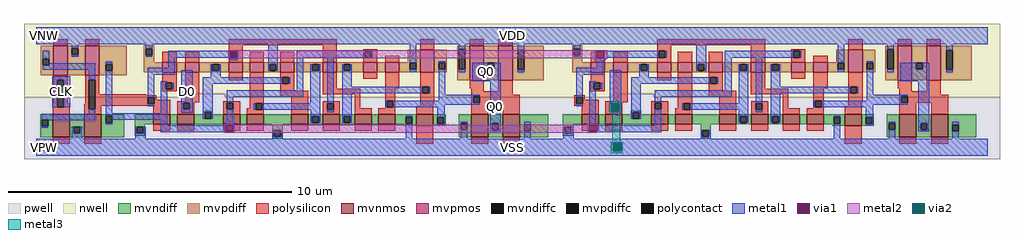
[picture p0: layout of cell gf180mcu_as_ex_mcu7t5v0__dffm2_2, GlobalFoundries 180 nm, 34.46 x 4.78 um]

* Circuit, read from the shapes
.subckt gf180mcu_as_ex_mcu7t5v0__dffm2_2 VDD VNW VPW VSS CLK Q0 D0
XM1 VSS CLK n1 VPW nfet_06v0 w=0.82u l=0.6u
XM2 n2 n1 VSS VPW nfet_06v0 w=0.82u l=0.6u
XM3 n3 n1 VSS VPW nfet_06v0 w=0.36u l=0.6u
XM4 n4 D0 n3 VPW nfet_06v0 w=0.36u l=0.6u
XM5 n5 n2 n4 VPW nfet_06v0 w=0.36u l=0.6u
XM6 VSS n6 n5 VPW nfet_06v0 w=0.36u l=0.6u
XM7 n6 n4 VSS VPW nfet_06v0 w=0.36u l=0.6u
XM8 n7 n2 n6 VPW nfet_06v0 w=0.36u l=0.6u
XM9 n8 n1 n7 VPW nfet_06v0 w=0.36u l=0.6u
XM10 VSS n9 n8 VPW nfet_06v0 w=0.36u l=0.6u
XM11 n9 n7 VSS VPW nfet_06v0 w=0.4u l=0.6u
XM12 Q0 n9 VSS VPW nfet_06v0 w=0.82u l=0.6u m=2
XM13 n10 n1 VSS VPW nfet_06v0 w=0.36u l=0.6u
XM14 n11 VSS n10 VPW nfet_06v0 w=0.36u l=0.6u
XM15 n12 n2 n11 VPW nfet_06v0 w=0.36u l=0.6u
XM16 VSS n13 n12 VPW nfet_06v0 w=0.36u l=0.6u
XM17 n13 n11 VSS VPW nfet_06v0 w=0.36u l=0.6u
XM18 n14 n2 n13 VPW nfet_06v0 w=0.36u l=0.6u
XM19 n15 n1 n14 VPW nfet_06v0 w=0.36u l=0.6u
XM20 VSS n16 n15 VPW nfet_06v0 w=0.36u l=0.6u
XM21 n16 n14 VSS VPW nfet_06v0 w=0.4u l=0.6u
XM22 n17 n16 VSS VPW nfet_06v0 w=0.82u l=0.6u m=2
XM23 VDD CLK n1 VNW pfet_06v0 w=1.04u l=0.5u
XM24 n2 n1 VDD VNW pfet_06v0 w=1.04u l=0.5u
XM25 n18 n2 VDD VNW pfet_06v0 w=0.36u l=0.5u
XM26 n4 D0 n18 VNW pfet_06v0 w=0.36u l=0.5u
XM27 n19 n1 n4 VNW pfet_06v0 w=0.36u l=0.5u
XM28 VDD n6 n19 VNW pfet_06v0 w=0.36u l=0.5u
XM29 n6 n4 VDD VNW pfet_06v0 w=0.36u l=0.5u
XM30 n7 n1 n6 VNW pfet_06v0 w=0.36u l=0.5u
XM31 n20 n2 n7 VNW pfet_06v0 w=0.36u l=0.5u
XM32 VDD n9 n20 VNW pfet_06v0 w=0.36u l=0.5u
XM33 n9 n7 VDD VNW pfet_06v0 w=0.8u l=0.5u
XM34 Q0 n9 VDD VNW pfet_06v0 w=1.22u l=0.5u m=2
XM35 n21 n2 VDD VNW pfet_06v0 w=0.36u l=0.5u
XM36 n11 VSS n21 VNW pfet_06v0 w=0.36u l=0.5u
XM37 n22 n1 n11 VNW pfet_06v0 w=0.36u l=0.5u
XM38 VDD n13 n22 VNW pfet_06v0 w=0.36u l=0.5u
XM39 n13 n11 VDD VNW pfet_06v0 w=0.36u l=0.5u
XM40 n14 n1 n13 VNW pfet_06v0 w=0.36u l=0.5u
XM41 n23 n2 n14 VNW pfet_06v0 w=0.36u l=0.5u
XM42 VDD n16 n23 VNW pfet_06v0 w=0.36u l=0.5u
XM43 n16 n14 VDD VNW pfet_06v0 w=0.8u l=0.5u
XM44 n17 n16 VDD VNW pfet_06v0 w=1.22u l=0.5u m=2
.ends

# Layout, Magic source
magic
tech gf180mcuD
magscale 1 10
<< nwell >>
rect -86 377 6806 870
rect -86 352 1085 377
rect 1336 352 4109 377
rect 4360 352 6806 377
<< pwell >>
rect 1085 352 1336 377
rect 4109 352 4360 377
rect -86 -86 6806 352
<< mvnmos >>
rect 116 68 236 232
rect 341 68 461 232
rect 828 159 948 231
rect 996 159 1116 231
rect 1320 159 1440 231
rect 1488 159 1608 231
rect 1800 159 1920 231
rect 2024 159 2144 231
rect 2248 159 2368 231
rect 2416 159 2536 231
rect 2684 151 2804 231
rect 3072 68 3192 232
rect 3296 68 3416 232
rect 3852 159 3972 231
rect 4020 159 4140 231
rect 4344 159 4464 231
rect 4512 159 4632 231
rect 4824 159 4944 231
rect 5048 159 5168 231
rect 5272 159 5392 231
rect 5440 159 5560 231
rect 5708 151 5828 231
rect 6096 68 6216 232
rect 6320 68 6440 232
<< mvpmos >>
rect 122 508 222 716
rect 346 508 446 716
rect 892 527 992 599
rect 1052 527 1152 599
rect 1360 527 1460 599
rect 1508 527 1608 599
rect 1724 527 1824 599
rect 2023 527 2123 599
rect 2308 527 2408 599
rect 2464 527 2564 599
rect 2712 527 2812 687
rect 3060 472 3160 716
rect 3264 472 3364 716
rect 3916 527 4016 599
rect 4076 527 4176 599
rect 4384 527 4484 599
rect 4532 527 4632 599
rect 4748 527 4848 599
rect 5047 527 5147 599
rect 5332 527 5432 599
rect 5488 527 5588 599
rect 5736 527 5836 687
rect 6084 472 6184 716
rect 6288 472 6388 716
<< mvndiff >>
rect 28 192 116 232
rect 28 146 41 192
rect 87 146 116 192
rect 28 68 116 146
rect 236 143 341 232
rect 236 97 266 143
rect 312 97 341 143
rect 236 68 341 97
rect 461 219 623 232
rect 1176 244 1248 257
rect 1176 231 1189 244
rect 461 173 490 219
rect 536 173 623 219
rect 461 68 623 173
rect 696 159 828 231
rect 948 159 996 231
rect 1116 198 1189 231
rect 1235 231 1248 244
rect 1235 198 1320 231
rect 1116 159 1320 198
rect 1440 159 1488 231
rect 1608 159 1800 231
rect 1920 218 2024 231
rect 1920 172 1949 218
rect 1995 172 2024 218
rect 1920 159 2024 172
rect 2144 218 2248 231
rect 2144 172 2173 218
rect 2219 172 2248 218
rect 2144 159 2248 172
rect 2368 159 2416 231
rect 2536 210 2684 231
rect 2536 164 2609 210
rect 2655 164 2684 210
rect 2536 159 2684 164
rect 696 143 768 159
rect 696 97 709 143
rect 755 97 768 143
rect 1668 117 1740 159
rect 696 79 768 97
rect 1668 71 1681 117
rect 1727 71 1740 117
rect 2596 151 2684 159
rect 2804 210 2892 231
rect 2804 164 2833 210
rect 2879 164 2892 210
rect 2804 151 2892 164
rect 2984 167 3072 232
rect 1668 58 1740 71
rect 2984 121 2997 167
rect 3043 121 3072 167
rect 2984 68 3072 121
rect 3192 167 3296 232
rect 3192 121 3221 167
rect 3267 121 3296 167
rect 3192 68 3296 121
rect 3416 158 3616 232
rect 4200 244 4272 257
rect 4200 231 4213 244
rect 3416 112 3445 158
rect 3491 112 3616 158
rect 3416 68 3616 112
rect 3720 159 3852 231
rect 3972 159 4020 231
rect 4140 198 4213 231
rect 4259 231 4272 244
rect 4259 198 4344 231
rect 4140 159 4344 198
rect 4464 159 4512 231
rect 4632 159 4824 231
rect 4944 218 5048 231
rect 4944 172 4973 218
rect 5019 172 5048 218
rect 4944 159 5048 172
rect 5168 218 5272 231
rect 5168 172 5197 218
rect 5243 172 5272 218
rect 5168 159 5272 172
rect 5392 159 5440 231
rect 5560 210 5708 231
rect 5560 164 5633 210
rect 5679 164 5708 210
rect 5560 159 5708 164
rect 3720 143 3792 159
rect 3720 97 3733 143
rect 3779 97 3792 143
rect 4692 117 4764 159
rect 3720 79 3792 97
rect 4692 71 4705 117
rect 4751 71 4764 117
rect 5620 151 5708 159
rect 5828 210 5916 231
rect 5828 164 5857 210
rect 5903 164 5916 210
rect 5828 151 5916 164
rect 6008 167 6096 232
rect 4692 58 4764 71
rect 6008 121 6021 167
rect 6067 121 6096 167
rect 6008 68 6096 121
rect 6216 167 6320 232
rect 6216 121 6245 167
rect 6291 121 6320 167
rect 6216 68 6320 121
rect 6440 158 6640 232
rect 6440 112 6469 158
rect 6515 112 6640 158
rect 6440 68 6640 112
<< mvpdiff >>
rect 34 622 122 716
rect 34 576 47 622
rect 93 576 122 622
rect 34 508 122 576
rect 222 697 346 716
rect 222 651 251 697
rect 297 651 346 697
rect 222 508 346 651
rect 446 586 638 716
rect 446 540 490 586
rect 536 540 638 586
rect 446 508 638 540
rect 760 694 832 720
rect 760 648 773 694
rect 819 648 832 694
rect 760 599 832 648
rect 2972 689 3060 716
rect 2624 599 2712 687
rect 760 527 892 599
rect 992 527 1052 599
rect 1152 586 1360 599
rect 1152 540 1245 586
rect 1291 540 1360 586
rect 1152 527 1360 540
rect 1460 527 1508 599
rect 1608 586 1724 599
rect 1608 540 1649 586
rect 1695 540 1724 586
rect 1608 527 1724 540
rect 1824 586 2023 599
rect 1824 540 1948 586
rect 1994 540 2023 586
rect 1824 527 2023 540
rect 2123 586 2308 599
rect 2123 540 2173 586
rect 2219 540 2308 586
rect 2123 527 2308 540
rect 2408 527 2464 599
rect 2564 595 2712 599
rect 2564 549 2637 595
rect 2683 549 2712 595
rect 2564 527 2712 549
rect 2812 595 2900 687
rect 2812 549 2841 595
rect 2887 549 2900 595
rect 2812 527 2900 549
rect 2972 549 2985 689
rect 3031 549 3060 689
rect 2972 472 3060 549
rect 3160 595 3264 716
rect 3160 549 3189 595
rect 3235 549 3264 595
rect 3160 472 3264 549
rect 3364 685 3584 716
rect 3364 545 3402 685
rect 3448 545 3584 685
rect 3364 472 3584 545
rect 3784 694 3856 720
rect 3784 648 3797 694
rect 3843 648 3856 694
rect 3784 599 3856 648
rect 5996 689 6084 716
rect 5648 599 5736 687
rect 3784 527 3916 599
rect 4016 527 4076 599
rect 4176 586 4384 599
rect 4176 540 4269 586
rect 4315 540 4384 586
rect 4176 527 4384 540
rect 4484 527 4532 599
rect 4632 586 4748 599
rect 4632 540 4673 586
rect 4719 540 4748 586
rect 4632 527 4748 540
rect 4848 586 5047 599
rect 4848 540 4972 586
rect 5018 540 5047 586
rect 4848 527 5047 540
rect 5147 586 5332 599
rect 5147 540 5197 586
rect 5243 540 5332 586
rect 5147 527 5332 540
rect 5432 527 5488 599
rect 5588 595 5736 599
rect 5588 549 5661 595
rect 5707 549 5736 595
rect 5588 527 5736 549
rect 5836 595 5924 687
rect 5836 549 5865 595
rect 5911 549 5924 595
rect 5836 527 5924 549
rect 5996 549 6009 689
rect 6055 549 6084 689
rect 5996 472 6084 549
rect 6184 595 6288 716
rect 6184 549 6213 595
rect 6259 549 6288 595
rect 6184 472 6288 549
rect 6388 685 6608 716
rect 6388 545 6426 685
rect 6472 545 6608 685
rect 6388 472 6608 545
<< mvndiffc >>
rect 41 146 87 192
rect 266 97 312 143
rect 490 173 536 219
rect 1189 198 1235 244
rect 1949 172 1995 218
rect 2173 172 2219 218
rect 2609 164 2655 210
rect 709 97 755 143
rect 1681 71 1727 117
rect 2833 164 2879 210
rect 2997 121 3043 167
rect 3221 121 3267 167
rect 3445 112 3491 158
rect 4213 198 4259 244
rect 4973 172 5019 218
rect 5197 172 5243 218
rect 5633 164 5679 210
rect 3733 97 3779 143
rect 4705 71 4751 117
rect 5857 164 5903 210
rect 6021 121 6067 167
rect 6245 121 6291 167
rect 6469 112 6515 158
<< mvpdiffc >>
rect 47 576 93 622
rect 251 651 297 697
rect 490 540 536 586
rect 773 648 819 694
rect 1245 540 1291 586
rect 1649 540 1695 586
rect 1948 540 1994 586
rect 2173 540 2219 586
rect 2637 549 2683 595
rect 2841 549 2887 595
rect 2985 549 3031 689
rect 3189 549 3235 595
rect 3402 545 3448 685
rect 3797 648 3843 694
rect 4269 540 4315 586
rect 4673 540 4719 586
rect 4972 540 5018 586
rect 5197 540 5243 586
rect 5661 549 5707 595
rect 5865 549 5911 595
rect 6009 549 6055 689
rect 6213 549 6259 595
rect 6426 545 6472 685
<< polysilicon >>
rect 122 716 222 760
rect 346 716 446 760
rect 1360 720 2123 760
rect 1360 678 1460 720
rect 892 599 992 672
rect 1052 599 1152 672
rect 1360 632 1373 678
rect 1419 632 1460 678
rect 1360 599 1460 632
rect 1508 599 1608 672
rect 1724 599 1824 672
rect 2023 599 2123 720
rect 2308 678 2408 691
rect 2712 687 2812 760
rect 3060 716 3160 760
rect 3264 716 3364 760
rect 4384 720 5147 760
rect 2308 632 2321 678
rect 2367 632 2408 678
rect 2308 599 2408 632
rect 2464 599 2564 643
rect 122 475 222 508
rect 122 306 149 475
rect 116 281 149 306
rect 195 306 222 475
rect 346 475 446 508
rect 346 306 371 475
rect 195 281 236 306
rect 116 232 236 281
rect 341 265 371 306
rect 417 373 446 475
rect 892 467 992 527
rect 889 455 992 467
rect 889 409 914 455
rect 960 409 992 455
rect 889 395 992 409
rect 417 364 776 373
rect 417 351 848 364
rect 417 305 789 351
rect 835 332 848 351
rect 835 305 948 332
rect 1052 324 1152 527
rect 1360 471 1460 527
rect 417 292 948 305
rect 417 265 461 292
rect 341 232 461 265
rect 828 231 948 292
rect 996 317 1152 324
rect 996 311 1116 317
rect 996 265 1038 311
rect 1084 265 1116 311
rect 996 231 1116 265
rect 1320 311 1440 324
rect 1320 265 1345 311
rect 1391 265 1440 311
rect 1508 310 1608 527
rect 1724 494 1824 527
rect 1724 448 1737 494
rect 1783 448 1824 494
rect 1724 396 1824 448
rect 2023 412 2123 527
rect 2308 483 2408 527
rect 2464 416 2564 527
rect 2712 425 2812 527
rect 4384 678 4484 720
rect 3916 599 4016 672
rect 4076 599 4176 672
rect 4384 632 4397 678
rect 4443 632 4484 678
rect 4384 599 4484 632
rect 4532 599 4632 672
rect 4748 599 4848 672
rect 5047 599 5147 720
rect 5332 678 5432 691
rect 5736 687 5836 760
rect 6084 716 6184 760
rect 6288 716 6388 760
rect 5332 632 5345 678
rect 5391 632 5432 678
rect 5332 599 5432 632
rect 5488 599 5588 643
rect 1724 356 1920 396
rect 2023 372 2288 412
rect 1508 275 1549 310
rect 1320 231 1440 265
rect 1488 264 1549 275
rect 1595 264 1608 310
rect 1488 231 1608 264
rect 1800 231 1920 356
rect 2024 310 2144 323
rect 2024 264 2056 310
rect 2102 264 2144 310
rect 2024 231 2144 264
rect 2248 275 2288 372
rect 2464 326 2536 416
rect 2464 280 2477 326
rect 2523 280 2536 326
rect 2712 379 2725 425
rect 2771 379 2812 425
rect 3060 416 3160 472
rect 2712 311 2812 379
rect 3072 394 3160 416
rect 3264 394 3364 472
rect 3916 467 4016 527
rect 3913 455 4016 467
rect 3913 409 3938 455
rect 3984 409 4016 455
rect 3913 395 4016 409
rect 3072 370 3364 394
rect 3072 357 3416 370
rect 3072 311 3085 357
rect 3131 313 3416 357
rect 3131 311 3192 313
rect 2712 288 2804 311
rect 2464 275 2536 280
rect 2248 231 2368 275
rect 2416 231 2536 275
rect 2684 231 2804 288
rect 3072 232 3192 311
rect 3296 232 3416 313
rect 3800 351 3872 364
rect 3800 305 3813 351
rect 3859 332 3872 351
rect 3859 305 3972 332
rect 4076 324 4176 527
rect 4384 471 4484 527
rect 3800 292 3972 305
rect 828 115 948 159
rect 996 115 1116 159
rect 1320 115 1440 159
rect 1488 115 1608 159
rect 1800 115 1920 159
rect 2024 115 2144 159
rect 2248 115 2368 159
rect 2416 115 2536 159
rect 116 24 236 68
rect 341 24 461 68
rect 2684 24 2804 151
rect 3852 231 3972 292
rect 4020 317 4176 324
rect 4020 311 4140 317
rect 4020 265 4062 311
rect 4108 265 4140 311
rect 4020 231 4140 265
rect 4344 311 4464 324
rect 4344 265 4369 311
rect 4415 265 4464 311
rect 4532 310 4632 527
rect 4748 494 4848 527
rect 4748 448 4761 494
rect 4807 448 4848 494
rect 4748 396 4848 448
rect 5047 412 5147 527
rect 5332 483 5432 527
rect 5488 416 5588 527
rect 5736 425 5836 527
rect 4748 356 4944 396
rect 5047 372 5312 412
rect 4532 275 4573 310
rect 4344 231 4464 265
rect 4512 264 4573 275
rect 4619 264 4632 310
rect 4512 231 4632 264
rect 4824 231 4944 356
rect 5048 310 5168 323
rect 5048 264 5080 310
rect 5126 264 5168 310
rect 5048 231 5168 264
rect 5272 275 5312 372
rect 5488 326 5560 416
rect 5488 280 5501 326
rect 5547 280 5560 326
rect 5736 379 5749 425
rect 5795 379 5836 425
rect 6084 416 6184 472
rect 5736 311 5836 379
rect 6096 394 6184 416
rect 6288 394 6388 472
rect 6096 370 6388 394
rect 6096 357 6440 370
rect 6096 311 6109 357
rect 6155 313 6440 357
rect 6155 311 6216 313
rect 5736 288 5828 311
rect 5488 275 5560 280
rect 5272 231 5392 275
rect 5440 231 5560 275
rect 5708 231 5828 288
rect 6096 232 6216 311
rect 6320 232 6440 313
rect 3852 115 3972 159
rect 4020 115 4140 159
rect 4344 115 4464 159
rect 4512 115 4632 159
rect 4824 115 4944 159
rect 5048 115 5168 159
rect 5272 115 5392 159
rect 5440 115 5560 159
rect 3072 24 3192 68
rect 3296 24 3416 68
rect 5708 24 5828 151
rect 6096 24 6216 68
rect 6320 24 6440 68
<< polycontact >>
rect 1373 632 1419 678
rect 2321 632 2367 678
rect 149 281 195 475
rect 371 265 417 475
rect 914 409 960 455
rect 789 305 835 351
rect 1038 265 1084 311
rect 1345 265 1391 311
rect 1737 448 1783 494
rect 4397 632 4443 678
rect 5345 632 5391 678
rect 1549 264 1595 310
rect 2056 264 2102 310
rect 2477 280 2523 326
rect 2725 379 2771 425
rect 3938 409 3984 455
rect 3085 311 3131 357
rect 3813 305 3859 351
rect 4062 265 4108 311
rect 4369 265 4415 311
rect 4761 448 4807 494
rect 4573 264 4619 310
rect 5080 264 5126 310
rect 5501 280 5547 326
rect 5749 379 5795 425
rect 6109 311 6155 357
<< metal1 >>
rect 0 724 6720 844
rect 251 697 297 724
rect 47 622 93 678
rect 251 637 297 651
rect 773 694 819 724
rect 773 637 819 648
rect 934 632 1368 678
rect 1420 632 1432 678
rect 93 576 417 591
rect 47 545 417 576
rect 112 475 240 499
rect 112 281 149 475
rect 195 281 240 475
rect 371 475 417 545
rect 371 235 417 265
rect 41 192 417 235
rect 87 189 417 192
rect 490 586 536 603
rect 934 558 980 632
rect 1368 614 1420 626
rect 1638 586 1706 724
rect 490 237 536 540
rect 789 512 980 558
rect 789 351 835 512
rect 789 288 835 305
rect 881 455 927 465
rect 881 409 914 455
rect 960 409 973 455
rect 881 237 927 409
rect 1026 311 1107 542
rect 1234 540 1245 586
rect 1291 540 1302 586
rect 1638 540 1649 586
rect 1695 540 1706 586
rect 1840 632 2321 678
rect 2367 632 2378 678
rect 1234 494 1302 540
rect 1026 265 1038 311
rect 1084 265 1107 311
rect 1026 242 1107 265
rect 1177 448 1737 494
rect 1783 448 1794 494
rect 1177 244 1246 448
rect 1840 402 1886 632
rect 490 219 927 237
rect 536 191 927 219
rect 1177 198 1189 244
rect 1235 198 1246 244
rect 1345 356 1886 402
rect 1937 540 1948 586
rect 1994 540 2006 586
rect 1345 311 1391 356
rect 1937 310 2006 540
rect 490 162 536 173
rect 41 135 87 146
rect 881 152 927 191
rect 1345 170 1391 265
rect 1538 264 1549 310
rect 1595 264 2006 310
rect 1938 218 2006 264
rect 2056 310 2102 632
rect 2637 595 2683 724
rect 2985 689 3031 724
rect 2056 245 2102 264
rect 2162 540 2173 586
rect 2219 540 2230 586
rect 2162 426 2230 540
rect 2637 527 2683 549
rect 2841 595 2887 606
rect 2162 425 2782 426
rect 2162 379 2725 425
rect 2771 379 2782 425
rect 1938 172 1949 218
rect 1995 172 2006 218
rect 2162 218 2230 379
rect 2841 368 2887 549
rect 3402 685 3448 724
rect 2985 527 3031 549
rect 3079 549 3189 595
rect 3235 549 3282 595
rect 3079 466 3282 549
rect 3797 694 3843 724
rect 3797 637 3843 648
rect 3946 626 3958 678
rect 4010 632 4397 678
rect 4443 632 4454 678
rect 4010 626 4022 632
rect 3946 614 4022 626
rect 3958 558 4004 614
rect 4662 586 4730 724
rect 3402 527 3448 545
rect 2841 357 3131 368
rect 2841 326 3085 357
rect 2466 280 2477 326
rect 2523 311 3085 326
rect 2523 300 3131 311
rect 2523 280 2886 300
rect 2162 172 2173 218
rect 2219 172 2230 218
rect 2609 210 2655 221
rect 1327 158 1403 170
rect 1327 152 1339 158
rect 252 97 266 143
rect 312 97 326 143
rect 252 60 326 97
rect 698 97 709 143
rect 755 97 772 143
rect 881 106 1339 152
rect 1391 106 1403 158
rect 698 60 772 97
rect 1670 71 1681 117
rect 1727 71 1738 117
rect 1670 60 1738 71
rect 2609 60 2655 164
rect 2833 210 2886 280
rect 2879 164 2886 210
rect 2833 151 2886 164
rect 2997 167 3043 178
rect 2997 60 3043 121
rect 3206 167 3282 466
rect 3813 512 4004 558
rect 3813 351 3859 512
rect 3813 288 3859 305
rect 3905 455 3951 465
rect 3905 409 3938 455
rect 3984 409 3997 455
rect 3206 121 3221 167
rect 3267 121 3282 167
rect 3206 110 3282 121
rect 3445 158 3491 178
rect 3905 162 3951 409
rect 4050 311 4131 542
rect 4258 540 4269 586
rect 4315 540 4326 586
rect 4662 540 4673 586
rect 4719 540 4730 586
rect 4864 632 5345 678
rect 5391 632 5402 678
rect 4258 494 4326 540
rect 4050 254 4062 311
rect 4108 306 4131 311
rect 4114 254 4131 306
rect 4050 242 4131 254
rect 4201 448 4761 494
rect 4807 448 4818 494
rect 4201 244 4270 448
rect 4864 402 4910 632
rect 4201 198 4213 244
rect 4259 198 4270 244
rect 4369 356 4910 402
rect 4961 540 4972 586
rect 5018 540 5030 586
rect 4369 311 4415 356
rect 4961 310 5030 540
rect 3893 158 3969 162
rect 3445 60 3491 112
rect 3722 97 3733 143
rect 3779 97 3796 143
rect 3893 106 3905 158
rect 3957 152 3969 158
rect 4369 152 4415 265
rect 4562 264 4573 310
rect 4619 264 5030 310
rect 4962 218 5030 264
rect 5080 310 5126 632
rect 5661 595 5707 724
rect 6009 689 6055 724
rect 5080 245 5126 264
rect 5186 540 5197 586
rect 5243 540 5254 586
rect 5186 426 5254 540
rect 5661 527 5707 549
rect 5865 595 5911 606
rect 5186 425 5806 426
rect 5186 379 5749 425
rect 5795 379 5806 425
rect 4962 172 4973 218
rect 5019 172 5030 218
rect 5186 218 5254 379
rect 5865 368 5911 549
rect 6426 685 6472 724
rect 6009 527 6055 549
rect 6103 549 6213 595
rect 6259 549 6306 595
rect 6103 466 6306 549
rect 6426 527 6472 545
rect 5865 357 6155 368
rect 5865 326 6109 357
rect 5490 280 5501 326
rect 5547 311 6109 326
rect 5547 300 6155 311
rect 5547 280 5910 300
rect 5186 172 5197 218
rect 5243 172 5254 218
rect 5633 210 5679 221
rect 3957 106 4415 152
rect 3722 60 3796 97
rect 4694 71 4705 117
rect 4751 71 4762 117
rect 4694 60 4762 71
rect 5633 60 5679 164
rect 5857 210 5910 280
rect 5903 164 5910 210
rect 5857 151 5910 164
rect 6021 167 6067 178
rect 6021 60 6067 121
rect 6230 167 6306 466
rect 6230 121 6245 167
rect 6291 121 6306 167
rect 6230 110 6306 121
rect 6469 158 6515 178
rect 6469 60 6515 112
rect 0 21 6720 60
rect 0 -31 4075 21
rect 4127 -31 6720 21
rect 0 -60 6720 -31
<< via1 >>
rect 1368 632 1373 678
rect 1373 632 1419 678
rect 1419 632 1420 678
rect 1368 626 1420 632
rect 3958 626 4010 678
rect 1339 106 1391 158
rect 4062 265 4108 306
rect 4108 265 4114 306
rect 4062 254 4114 265
rect 3905 106 3957 158
rect 4075 -31 4127 21
<< metal2 >>
rect 1356 678 4033 683
rect 1356 626 1368 678
rect 1420 627 3958 678
rect 1420 626 1432 627
rect 1356 624 1432 626
rect 3946 626 3958 627
rect 4010 626 4033 678
rect 3946 624 4033 626
rect 4049 310 4131 319
rect 4049 254 4062 310
rect 4118 254 4131 310
rect 4049 243 4131 254
rect 1327 158 1393 160
rect 3893 158 3969 162
rect 1327 106 1339 158
rect 1391 106 3905 158
rect 3957 106 3969 158
rect 1327 102 3960 106
rect 4059 25 4141 33
rect 4059 -31 4075 25
rect 4131 -31 4141 25
rect 4059 -43 4141 -31
<< via2 >>
rect 4062 306 4118 310
rect 4062 254 4114 306
rect 4114 254 4118 306
rect 4075 21 4131 25
rect 4075 -31 4127 21
rect 4127 -31 4131 21
<< metal3 >>
rect 4049 310 4131 321
rect 4049 254 4062 310
rect 4118 254 4131 310
rect 4049 243 4131 254
rect 4068 34 4124 243
rect 4059 25 4141 34
rect 4059 -31 4075 25
rect 4131 -31 4141 25
rect 4059 -43 4141 -31
<< labels >>
flabel metal1 s 0 724 6720 844 0 FreeSans 400 0 0 0 VDD
port 1 nsew power bidirectional abutment
flabel metal1 s 0 -60 6720 60 0 FreeSans 400 0 0 0 VSS
port 4 nsew ground bidirectional abutment
flabel nwell s 10 734 110 834 0 FreeSans 400 0 0 0 VNW
port 2 nsew power bidirectional
flabel pwell s 10 -50 110 50 0 FreeSans 400 0 0 0 VPW
port 3 nsew ground bidirectional
flabel metal1 112 281 240 499 0 FreeSans 600 0 0 0 CLK
port 5 nsew clock input
flabel metal1 3079 466 3282 595 0 FreeSans 600 0 0 0 Q0
port 6 nsew signal output
flabel metal1 1026 242 1107 542 0 FreeSans 600 0 0 0 D0
port 7 nsew signal input
flabel metal1 3206 110 3282 466 0 FreeSans 600 0 0 0 Q0
port 6 nsew signal output
<< properties >>
string MASKHINTS_NPLUS 1155 392 1266 377
string MASKHINTS_PPLUS -16 377 6736 830
<< end >>
